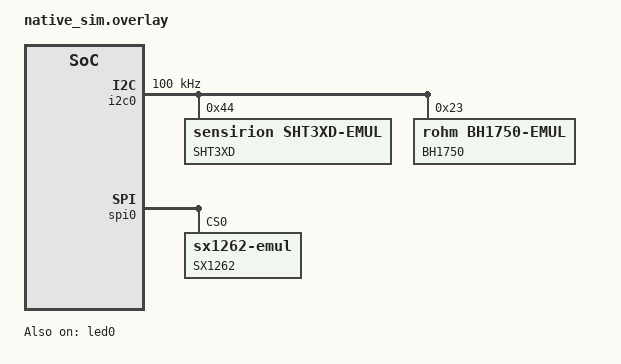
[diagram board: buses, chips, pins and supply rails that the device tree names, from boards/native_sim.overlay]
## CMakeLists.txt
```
# Minimum CMake version required
cmake_minimum_required(VERSION 3.20.0)

set(ZEPHYR_EXTRA_MODULES
  "${CMAKE_SOURCE_DIR}/modules/sensirion_sht3xd_emul"
  "${CMAKE_SOURCE_DIR}/modules/rohm_bh1750_emul"
  "${CMAKE_SOURCE_DIR}/modules/sx1262_emul"
)

# Include Zephyr
find_package(Zephyr REQUIRED HINTS $ENV{ZEPHYR_BASE})

# Define project
project(
  vitiemul
  VERSION 1.0
  DESCRIPTION "Zephyr project generated by script"
  LANGUAGES C
)

# Add main source file
target_sources(app PRIVATE src/main.c)
```

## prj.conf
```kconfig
# Emul
CONFIG_EMUL=y

# I2C
CONFIG_I2C=y
CONFIG_I2C_EMUL=y

# SPI
CONFIG_SPI=y
CONFIG_SPI_EMUL=y

# Sensor drivers
CONFIG_SENSOR=y
CONFIG_ROHM_BH1750_EMUL=y
CONFIG_SENSIRION_SHT3XD_EMUL=y
#CONFIG_BH1750=y
#CONFIG_SHT3XD=y

# LoRa
#CONFIG_LORA_SX126X=y
CONFIG_SX1262_EMUL=y
#CONFIG_LORA_LOG_LEVEL=4

#GPIO
CONFIG_GPIO=y
CONFIG_GPIO_EMUL=y

# Random
CONFIG_STACK_POINTER_RANDOM=0
CONFIG_TEST_RANDOM_GENERATOR=y
CONFIG_TIMER_RANDOM_GENERATOR=y
CONFIG_TEST_CSPRNG_GENERATOR=y

# General logging
CONFIG_LOG=y
#CONFIG_LOG_DEFAULT_LEVEL=4

# Print Float
CONFIG_CBPRINTF_FP_SUPPORT=y
```

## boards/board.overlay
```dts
/ {
    // Define I2C device for soil moisture sensor
    i2c1: i2c@40005400 {  // Use the correct I2C controller address for your platform
        compatible = "zephyr,i2c";
        status = "okay";
        #address-cells = <1>;
        #size-cells = <0>;

        reg = <0x40005400 0x400>;  // I2C controller base address and size
        soil_moisture: soil_moisture@50 {
            compatible = "zephyr,soil-moisture-sensor";
            reg = <0x50>;  // Correct I2C address for the soil moisture sensor
            label = "Soil_Moisture";
            status = "okay";
        };
    };

    // Define SPI device for BH1750 light sensor
    spi1: spi@4002C000 {  // Use the correct SPI controller address for your platform
        compatible = "zephyr,spi";
        status = "okay";
        #address-cells = <1>;
        #size-cells = <0>;

        reg = <0x4002C000 0x400>;  // SPI controller base address and size
        bh1750: bh1750@0 {
            compatible = "bosch,bh1750";
            reg = <0>;  // This represents the chip-select (CS) pin number
            status = "okay";
            label = "BH1750";

            // SPI configuration (example)
            spi-max-frequency = <1000000>;  // Maximum SPI frequency
            cs-gpios = <&gpio0 10 0>;  // Chip select pin
        };
    };

    // Define the DHT22 sensor node, linked to UART (assuming UART1)
    dht1: dht22@0 {
        compatible = "zephyr,dht22";
        status = "okay";
        label = "DHT22";

        reg = <0x40010000 0x100>;

        // Point to the UART controller (assuming UART1 is being used)
        uart-port = <&uart1>;

        // UART settings for DHT22 sensor (assuming UART1 configuration is done elsewhere)
        tx-pin = <10>;  // Replace with the actual TX pin number
        rx-pin = <11>;  // Replace with the actual RX pin number
    };

    // Define the LoRa radio node (e.g., SX127x) connected via SPI
    lora: sx127x@4003C000 {
        compatible = "semtech,sx1276";  // Replace with the correct LoRa chip
        reg = <0x4003C000 0x400>;  // Chip select (CS) pin number for SPI
        status = "okay";
        label = "LoRa_Radio";

        // SPI configuration
        spi-max-frequency = <1000000>;  // Adjust as needed
        cs-gpios = <&gpio0 12 0>;  // Chip select GPIO pin (correct reference to gpio0)

        // LoRa specific settings (e.g., reset, IRQ)
        reset-gpios = <&gpio0 13 0>;  // Reset pin
        irq-gpios = <&gpio0 14 0>;    // IRQ pin
        irq-polarity = <0>;  // Set to 1 for active high, 0 for active low
    };
};
```

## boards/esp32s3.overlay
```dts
&spi2 {
    status = "okay";

    lora: lora@0 {
        compatible = "lora,spi";
        reg = <0>;
        spi-max-frequency = <1000000>;

        // Usare GPIO17 per reset e GPIO16 per DIO0
        gpio-reset = <&gpio0 17 GPIO_ACTIVE_HIGH>;  // Reset pin
        gpio-dio0 = <&gpio0 16 GPIO_ACTIVE_HIGH>;   // Interrupt pin (DIO0)
    };
};

&gpio0 {
    status = "okay";

    dht1: dht_sensor {
        compatible = "dht,dht11";  // o "dht,dht22" se usi DHT22
        gpios = <&gpio0 4 GPIO_ACTIVE_HIGH>;  // Es: GPIO4 per il data pin del DHT
        data-polarity = <0>;
    };
};
```

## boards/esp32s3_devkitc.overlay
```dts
&i2c0 {
    status = "okay";
    clock-frequency = <I2C_BITRATE_STANDARD>; /* 100kHz */

    temp_hum_emul: sht3xd@44 {
        compatible = "sensirion,sht3xd";
        reg = <0x44>;
        label = "TEMP_HUM_EMUL";
        alert-gpios = <&gpio0 30 GPIO_ACTIVE_HIGH>;
        status = "okay";
    };

    light_emul: bh1750@23 {
        compatible = "rohm,bh1750";
        reg = <0x23>;
        label = "LIGHT_EMUL";
        status = "okay";
    };
};

/ {
    leds {
    
        compatible = "gpio-leds";
        led0: led_0 {
            gpios = <&fakegpio 0 GPIO_ACTIVE_HIGH>;
            label = "FAKE_LED_0";
        };
    };

    fakegpio: gpio@0 {
        compatible = "zephyr,gpio-emul";
        gpio-controller;
        #gpio-cells = <2>;
        reg = <0 0x1000>;  /* Corrected reg property format */
        #address-cells = <1>;
        #size-cells = <1>;
        ngpios = <32>;
        status = "okay";
    };
};
```

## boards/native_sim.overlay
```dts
&i2c0 {
    status = "okay";
    clock-frequency = <I2C_BITRATE_STANDARD>; /* 100kHz */

    sht3xd: sht3xd@44 {
        compatible = "sensirion,sht3xd-emul";
        reg = <0x44>;
        status = "okay";
        label = "SHT3XD";
    };

    bh1750: bh1750@23 {
        compatible = "rohm,bh1750-emul";
        reg = <0x23>;  /* Typical BH1750 I2C address */
        status = "okay";
        label = "BH1750";
    };

};

&spi0 {
    status = "okay";
    sx1262: sx1262@0 {
        compatible = "sx1262-emul";
        reg = <0x0>;
        status = "okay";
        label = "SX1262";
    };
};

&gpio0 {
    status = "okay";
};

&led0 {
    status = "okay";
};
```

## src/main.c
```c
// -----------------------------------------------------------------------------
// Kernel and driver includes

#include <zephyr/kernel.h>
#include <zephyr/device.h>
#include <zephyr/devicetree.h>
#include <zephyr/drivers/gpio.h>
#include <zephyr/drivers/i2c.h>
#include <zephyr/drivers/sensor.h>
#include <zephyr/logging/log.h>
#include <zephyr/random/random.h>
#include <zephyr/drivers/lora.h>
#include <stdio.h>

#ifdef CONFIG_EMUL
#include "sensirion_sht3xd_emul.h"
#include "rohm_bh1750_emul.h"
#include "sx1262_emul.h"
#endif

LOG_MODULE_REGISTER(main, LOG_LEVEL_INF);

// -----------------------------------------------------------------------------
// Constants and thread configuration

#define STACK_SIZE 1024

#define LED_PRIORITY    5
#define TEMP_PRIORITY   5
#define LIGHT_PRIORITY  5
#define LORA_PRIORITY     5

#define LED_BLINK_INTERVAL_MS   500
#define TEMP_INTERVAL_MS       1000
#define LIGHT_INTERVAL_MS      1000
#define LORA_INTERVAL_MS       5000

// -----------------------------------------------------------------------------
// LED GPIO configuration

#define LED0_NODE DT_NODELABEL(led0)
static const struct gpio_dt_spec led = GPIO_DT_SPEC_GET(LED0_NODE, gpios);

// -----------------------------------------------------------------------------
// SHT3XD (temperature/humidity) sensor configuration

#define SHT3XD_NODE DT_NODELABEL(sht3xd)
static const struct device *sht3xd_dev = DEVICE_DT_GET(SHT3XD_NODE);

// -----------------------------------------------------------------------------
// BH1750 (light intensity) sensor configuration

#define BH1750_NODE DT_NODELABEL(bh1750)
static const struct device *bh1750_dev = DEVICE_DT_GET(BH1750_NODE);
static const struct i2c_dt_spec bh1750_spec = I2C_DT_SPEC_GET(BH1750_NODE);

// -----------------------------------------------------------------------------
// LoRa driver
#define SX1262_NODE DT_NODELABEL(sx1262)
static const struct device *sx1262_dev = DEVICE_DT_GET(SX1262_NODE);

// -----------------------------------------------------------------------------
// Thread stacks and control blocks

K_THREAD_STACK_DEFINE(led_stack, STACK_SIZE);
K_THREAD_STACK_DEFINE(temp_stack, STACK_SIZE);
K_THREAD_STACK_DEFINE(light_stack, STACK_SIZE);
K_THREAD_STACK_DEFINE(lora_stack, STACK_SIZE);

static struct k_thread led_thread_data;
static struct k_thread temp_thread_data;
static struct k_thread light_thread_data;
static struct k_thread lora_thread_data;

// -----------------------------------------------------------------------------
// LED Thread: toggles the LED periodically

void led_thread(void *arg1, void *arg2, void *arg3)
{
    bool state = false;

    while (1) {
        state = !state;
        gpio_pin_set_dt(&led, state);
        LOG_INF("LED: %s", state ? "ON" : "OFF");
        k_msleep(LED_BLINK_INTERVAL_MS);
    }
}

// -----------------------------------------------------------------------------
// Temperature Thread: reads SHT3XD via sensor API and logs values

void temp_thread(void *arg1, void *arg2, void *arg3)
{
    struct sensor_value temp, hum;

    while (1) {
        if (sensor_sample_fetch(sht3xd_dev) == 0 &&
            sensor_channel_get(sht3xd_dev, SENSOR_CHAN_AMBIENT_TEMP, &temp) == 0 &&
            sensor_channel_get(sht3xd_dev, SENSOR_CHAN_HUMIDITY, &hum) == 0) {

            float tf = sensor_value_to_double(&temp);
            float hf = sensor_value_to_double(&hum);
            LOG_INF("Temp: %.2f °C, Humidity: %.2f %%", (double)tf, (double)hf);
        } else {
            LOG_WRN("Failed to fetch SHT3XD sample");
        }

        k_msleep(TEMP_INTERVAL_MS);
    }
}

// -----------------------------------------------------------------------------
// Light Thread: reads BH1750 via sensor API and logs values
// -----------------------------------------------------------------------------

void light_thread(void *arg1, void *arg2, void *arg3)
{
    struct sensor_value lux;
    uint8_t power_on_cmd = 0x01;
    int ret;

    // Power ON → usa il bus I2C reale
    ret = i2c_write(bh1750_spec.bus, &power_on_cmd, 1, DT_REG_ADDR(BH1750_NODE));
    if (ret < 0) {
        LOG_ERR("Failed to power on BH1750: %d", ret);
        return;
    }

    while (1) {
        if (sensor_sample_fetch(bh1750_dev) == 0 &&
            sensor_channel_get(bh1750_dev, SENSOR_CHAN_LIGHT, &lux) == 0) {

            float lf = sensor_value_to_double(&lux);
            LOG_INF("Light Intensity: %.2f lux", (double)lf);
        } else {
            LOG_WRN("Failed to fetch BH1750 sample");
        }

        k_msleep(LIGHT_INTERVAL_MS);
    }
}

void lora_thread(void *arg1, void *arg2, void *arg3)
{
    struct sensor_value temp, hum, lux;
    char payload[64];

    while (1) {
        bool ok = sensor_sample_fetch(sht3xd_dev) == 0 &&
                  sensor_channel_get(sht3xd_dev, SENSOR_CHAN_AMBIENT_TEMP, &temp) == 0 &&
                  sensor_channel_get(sht3xd_dev, SENSOR_CHAN_HUMIDITY, &hum) == 0 &&
                  sensor_sample_fetch(bh1750_dev) == 0 &&
                  sensor_channel_get(bh1750_dev, SENSOR_CHAN_LIGHT, &lux) == 0;

        if (ok) {
            float tf = sensor_value_to_double(&temp);
            float hf = sensor_value_to_double(&hum);
            float lf = sensor_value_to_double(&lux);

            snprintf(payload, sizeof(payload), "T:%.1f H:%.1f L:%.1f", (double)tf, (double)hf, (double)lf);
            //LOG_INF("T: %.1f H: %.1f L: %.1f", (double)tf, (double)hf, (double)lf);

            int ret = sx1262_send(sx1262_dev, (uint8_t *)payload, strlen(payload));
            if (ret == 0) {
                LOG_INF("LoRa TX: %s", payload);
            } else {
                LOG_ERR("LoRa send failed: %d", ret);
            }
        } else {
            LOG_WRN("Sensor read failed");
        }

        k_msleep(LORA_INTERVAL_MS);  // invia ogni 5 secondi
    }
}

// -----------------------------------------------------------------------------
// Main: initialize devices and launch threads

int main(void)
{
    LOG_INF("Booting Sensor Application...");

    // Check device readiness
    if (!device_is_ready(led.port)) {
        LOG_ERR("LED device not ready");
        return 0;
    }

    if (!device_is_ready(sht3xd_dev)) {
        LOG_ERR("SHT3XD sensor not ready");
        return 0;
    }

    if (!device_is_ready(bh1750_dev)) {
        LOG_ERR("BH1750 sensor not ready");
        return 0;
    }

    if (!device_is_ready(sx1262_dev)) {
        LOG_ERR("SX1262 not ready");
        return 0;
    }

    // Configure LED pin
    if (gpio_pin_configure_dt(&led, GPIO_OUTPUT_ACTIVE) < 0) {
        LOG_ERR("Failed to configure LED GPIO");
        return 0;
    }

    LOG_INF("Devices ready. Launching threads...");

    // Start threads
    k_thread_create(&led_thread_data, led_stack, STACK_SIZE,
                    led_thread, NULL, NULL, NULL,
                    LED_PRIORITY, 0, K_NO_WAIT);

    k_thread_create(&temp_thread_data, temp_stack, STACK_SIZE,
                    temp_thread, NULL, NULL, NULL,
                    TEMP_PRIORITY, 0, K_NO_WAIT);

    k_thread_create(&light_thread_data, light_stack, STACK_SIZE,
                    light_thread, NULL, NULL, NULL,
                    LIGHT_PRIORITY, 0, K_NO_WAIT);

    k_thread_create(&lora_thread_data, lora_stack, STACK_SIZE,
                    lora_thread, NULL, NULL, NULL,
                    LORA_PRIORITY, 0, K_NO_WAIT);
    

    return 0;
}
```
